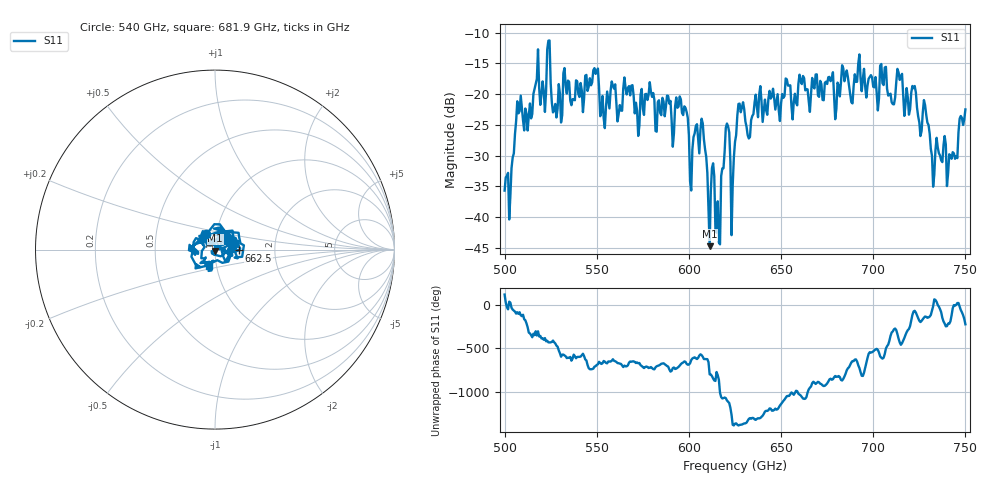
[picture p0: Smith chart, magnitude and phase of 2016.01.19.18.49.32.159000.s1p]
!Created with skrf (http://scikit-rf.org).
# GHz S RI R 50.0
!freq ReS11 ImS11
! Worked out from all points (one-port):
!   401 points, 500 GHz to 750 GHz, reference 50 ohm
!   lowest |S11| = -44.8 dB at 611.2 GHz (marker M1), VSWR 1.01, Z = 50.1 - j0.572 ohm
!   |S11| at or under -10 dB: start of sweep to end of sweep
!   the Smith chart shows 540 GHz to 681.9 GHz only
!   S11 on the Smith chart (normalised r, x): 540 GHz: 0.89, +0.16; 662.5 GHz: 1.31, -0.01; 681.9 GHz: 0.92, -0.17
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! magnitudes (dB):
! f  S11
! 500 GHz  -35.7
! 503.8 GHz  -32.1
! 507.5 GHz  -23.1
! 513.8 GHz  -21.5
! 516.9 GHz  -18.4
! 531.2 GHz  -23.4
! 540 GHz  -20.0
! 549.4 GHz  -16.7
! 553.1 GHz  -20.3
! 562.5 GHz  -21.8
! 593.8 GHz  -22.2
! 601.2 GHz  -35.7
! 607.5 GHz  -24.8
! 611.2 GHz  -44.8
! 615.6 GHz  -37.4
! 620.6 GHz  -24.8
! 623.1 GHz  -43.0
! 625 GHz  -27.8
! 628.1 GHz  -22.9
! 656.2 GHz  -24.1
! 662.5 GHz  -17.4
! 681.9 GHz  -20.4
! 687.5 GHz  -20.0
! 714.4 GHz  -17.7
! 718.8 GHz  -20.6
! 728.8 GHz  -23.4
! 732.5 GHz  -35.1
! 750 GHz  -22.5
